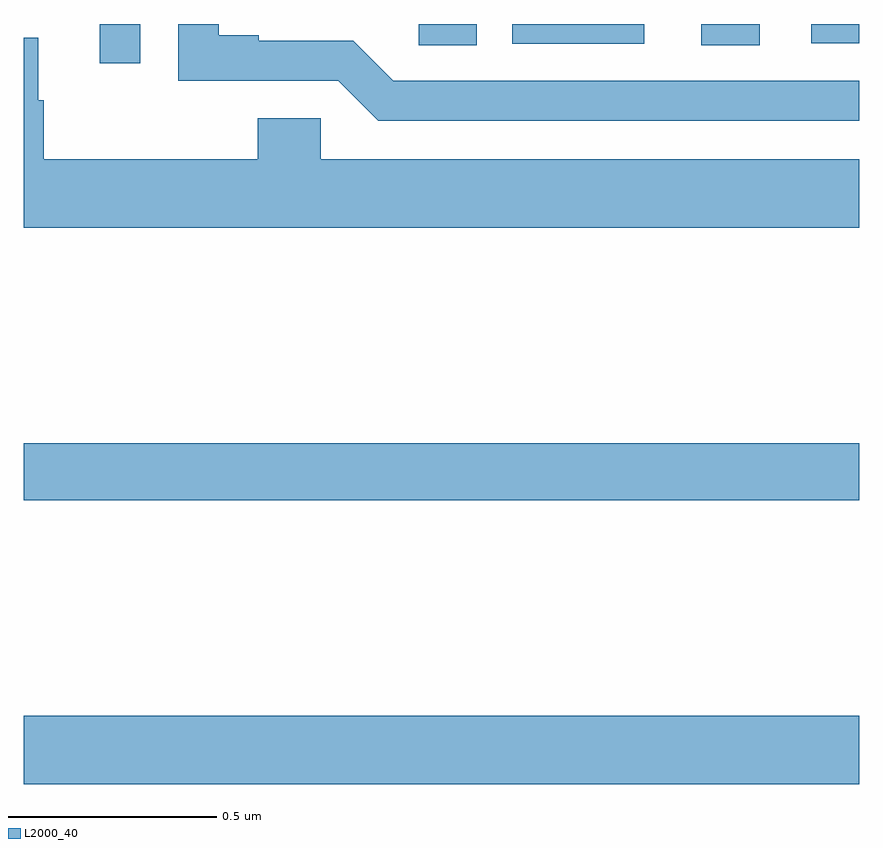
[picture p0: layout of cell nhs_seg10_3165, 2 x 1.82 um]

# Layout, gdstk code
import gdstk
lib = gdstk.Library(unit=1e-6, precision=1e-09)
def R(c, l, rs):  # rectangles x0, y0, x1, y1
    for r in rs: c.add(gdstk.rectangle(r[:2], r[2:], *l))
def P(c, l, *ps):  # polygons
    for p in ps: c.add(gdstk.Polygon(p, *l))
L2000_40 = (2000, 40)

nhs_seg10_3165 = lib.new_cell('nhs_seg10_3165')
R(nhs_seg10_3165, L2000_40, [(150,1269.68,152,1269.844), (150,1270.36,152,1270.496), (150.182,1271.406,150.279,1271.5), (150.945,1271.449,151.084,1271.5), (151.622,1271.449,151.762,1271.5), (151.169,1271.453,151.486,1271.5), (151.886,1271.454,152,1271.5)])
P(nhs_seg10_3165, L2000_40, [(152,1271.364),(150.885,1271.364),(150.789,1271.46),(150.562,1271.46),(150.562,1271.473),(150.466,1271.473),(150.466,1271.5),(150.369,1271.5),(150.369,1271.364),(150.753,1271.364),(150.849,1271.268),(152,1271.268)],
  [(152,1271.176),(150.711,1271.176),(150.711,1271.274),(150.56,1271.274),(150.56,1271.176),(150.047,1271.176),(150.047,1271.318),(150.034,1271.318),(150.034,1271.467),(150,1271.467),(150,1271.012),(152,1271.012)])

lib.write_gds('nhs_seg10_3165.gds')
